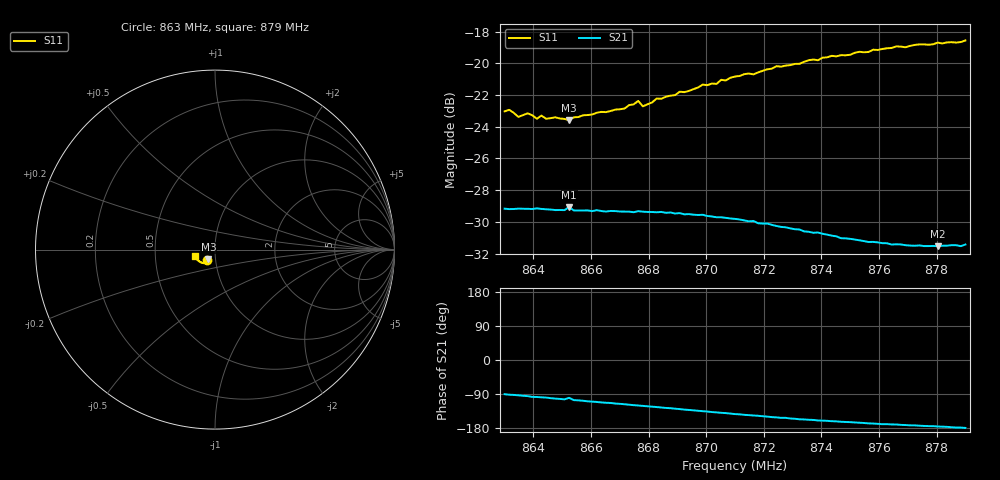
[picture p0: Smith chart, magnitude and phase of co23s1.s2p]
# HZ S RI R 50
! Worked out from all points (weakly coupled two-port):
!   101 points, 863 MHz to 879 MHz, reference 50 ohm
!   highest |S21| = -29.07 dB at 865.24 MHz (marker M1); lowest = -31.5 dB at 878.04 MHz (marker M2)
!   lowest |S11| = -23.6 dB at 865.24 MHz (marker M3), VSWR 1.14, Z = 46.2 - j5.08 ohm
!   |S11| at or under -10 dB: start of sweep to end of sweep
!   S12 and S22 are empty: the file has one direction only
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8.63e8  -0.0424 -0.0563  -0.000132 -0.0348  0 0  0 0
8.6316e8  -0.0448 -0.0555  -0.000964 -0.0347  0 0  0 0
8.6348e8  -0.0396 -0.055  -0.00197 -0.0347  0 0  0 0
8.638e8  -0.0421 -0.0553  -0.0032 -0.0346  0 0  0 0
8.6412e8  -0.0374 -0.0554  -0.00463 -0.0346  0 0  0 0
8.6428e8  -0.0381 -0.0569  -0.00511 -0.0344  0 0  0 0
8.6444e8  -0.0385 -0.0547  -0.00548 -0.0342  0 0  0 0
8.6508e8  -0.0349 -0.0569  -0.00822 -0.0334  0 0  0 0
8.6524e8  -0.0371 -0.0548  -0.00601 -0.0347  0 0  0 0
8.654e8  -0.0348 -0.0579  -0.00934 -0.0331  0 0  0 0
8.6572e8  -0.0346 -0.0592  -0.0103 -0.0327  0 0  0 0
8.6716e8  -0.0335 -0.0637  -0.0153 -0.0304  0 0  0 0
8.6764e8  -0.0369 -0.0666  -0.0171 -0.0296  0 0  0 0
8.678e8  -0.035 -0.0643  -0.0176 -0.0291  0 0  0 0
8.6828e8  -0.0364 -0.0683  -0.019 -0.028  0 0  0 0
8.6844e8  -0.0371 -0.0678  -0.0197 -0.0277  0 0  0 0
8.71e8  -0.0515 -0.0748  -0.0257 -0.0196  0 0  0 0
8.7164e8  -0.053 -0.0755  -0.0265 -0.0176  0 0  0 0
8.7372e8  -0.0705 -0.0748  -0.0271 -0.0108  0 0  0 0
8.7644e8  -0.0938 -0.0607  -0.0264 -0.00462  0 0  0 0
8.7804e8  -0.1065 -0.0464  -0.0264 -0.00211  0 0  0 0
8.79e8  -0.1119 -0.0377  -0.0268 -0.000357  0 0  0 0
